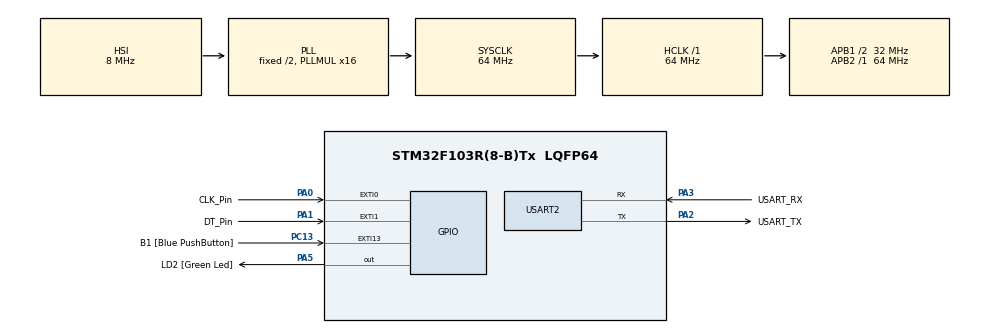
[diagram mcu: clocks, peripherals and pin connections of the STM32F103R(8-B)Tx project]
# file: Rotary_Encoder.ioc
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Mcu.Family=STM32F1
Mcu.Name=STM32F103R(8-B)Tx
Mcu.Package=LQFP64
NVIC.EXTI0_IRQn=true\:1\:0\:true\:false\:true\:true\:true\:true
NVIC.EXTI15_10_IRQn=true\:2\:0\:true\:false\:true\:true\:true\:true
NVIC.EXTI1_IRQn=true\:1\:0\:true\:false\:true\:true\:true\:true
NVIC.PriorityGroup=NVIC_PRIORITYGROUP_4
PA0-WKUP.GPIO_Label=CLK_Pin
PA0-WKUP.GPIO_ModeDefaultEXTI=GPIO_MODE_IT_RISING_FALLING
PA0-WKUP.GPIO_PuPd=GPIO_PULLUP
PA0-WKUP.Signal=GPXTI0
PA1.GPIO_Label=DT_Pin
PA1.GPIO_ModeDefaultEXTI=GPIO_MODE_IT_RISING_FALLING
PA1.GPIO_PuPd=GPIO_PULLUP
PA1.Signal=GPXTI1
PA13.GPIO_Label=TMS
PA13.Mode=Serial_Wire
PA13.Signal=SYS_JTMS-SWDIO
PA14.GPIO_Label=TCK
PA14.Mode=Serial_Wire
PA14.Signal=SYS_JTCK-SWCLK
PA2.GPIO_Label=USART_TX
PA2.GPIO_Mode=GPIO_MODE_AF_PP
PA2.GPIO_PuPd=GPIO_NOPULL
PA2.GPIO_Speed=GPIO_SPEED_FREQ_LOW
PA2.Mode=Asynchronous
PA2.Signal=USART2_TX
PA3.GPIO_Label=USART_RX
PA3.GPIO_Mode=GPIO_MODE_AF_PP
PA3.GPIO_PuPd=GPIO_NOPULL
PA3.GPIO_Speed=GPIO_SPEED_FREQ_LOW
PA3.Mode=Asynchronous
PA3.Signal=USART2_RX
PA5.GPIO_Label=LD2 [Green Led]
PA5.GPIO_ModeDefaultOutputPP=GPIO_MODE_OUTPUT_PP
PA5.GPIO_PuPd=GPIO_NOPULL
PA5.GPIO_Speed=GPIO_SPEED_FREQ_LOW
PA5.Signal=GPIO_Output
PB3.GPIO_Label=SWO
PB3.Signal=SYS_JTDO-TRACESWO
PC13-TAMPER-RTC.GPIO_Label=B1 [Blue PushButton]
PC13-TAMPER-RTC.GPIO_PuPd=GPIO_NOPULL
PC13-TAMPER-RTC.Signal=GPXTI13
PC14-OSC32_IN.Signal=RCC_OSC32_IN
PC15-OSC32_OUT.Signal=RCC_OSC32_OUT
PD0-OSC_IN.Mode=HSE-External-Clock-Source
PD0-OSC_IN.Signal=RCC_OSC_IN
PD1-OSC_OUT.Mode=HSE-External-Clock-Source
PD1-OSC_OUT.Signal=RCC_OSC_OUT
ProjectManager.HeapSize=0x200
ProjectManager.StackSize=0x400
ProjectManager.TargetToolchain=STM32CubeIDE
RCC.AHBFreq_Value=64000000
RCC.APB1CLKDivider=RCC_HCLK_DIV2
RCC.APB1Freq_Value=32000000
RCC.APB1TimFreq_Value=64000000
RCC.APB2Freq_Value=64000000
RCC.APB2TimFreq_Value=64000000
RCC.HCLKFreq_Value=64000000
RCC.PLLMUL=RCC_PLL_MUL16
RCC.RTCClockSelection=RCC_RTCCLKSOURCE_LSE
RCC.SYSCLKFreq_VALUE=64000000
RCC.SYSCLKSource=RCC_SYSCLKSOURCE_PLLCLK
RCC.USBFreq_Value=64000000
TIM2.Period=1000-1
TIM2.Prescaler=64000-1
USART2.VirtualMode=VM_ASYNC
VP_TIM2_VS_ClockSourceINT.Mode=Internal
board=NUCLEO-F103RB

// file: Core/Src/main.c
/* USER CODE BEGIN Header */
/**
 ******************************************************************************
 * @file           : main.c
 * @brief          : Main program body
 ******************************************************************************
 * @attention
 *
 * Copyright (c) 2025 STMicroelectronics.
 * All rights reserved.
 *
 * This software is licensed under terms that can be found in the LICENSE file
 * in the root directory of this software component.
 * If no LICENSE file comes with this software, it is provided AS-IS.
 *
 ******************************************************************************
 */
/* USER CODE END Header */
#include "main.h"

/* USER CODE BEGIN Includes */
#include <stdio.h>
/* USER CODE END Includes */

TIM_HandleTypeDef htim2;

UART_HandleTypeDef huart2;

/* USER CODE BEGIN PV */
// 인코더 관련 변수 (그레이 코드 방식)
volatile int32_t encoder_count = 0;
volatile uint8_t encoder_last_encoded = 0;

// 디바운스를 위한 변수
volatile uint32_t last_interrupt_time = 0;
#define DEBOUNCE_DELAY 5  // ms 단위
/* USER CODE END PV */

void SystemClock_Config(void);
static void MX_GPIO_Init(void);
static void MX_USART2_UART_Init(void);
static void MX_TIM2_Init(void);
/* USER CODE BEGIN PFP */
void Encoder_Init(void);
void HAL_GPIO_EXTI_Callback(uint16_t GPIO_Pin);
/* USER CODE END PFP */

/* USER CODE BEGIN 0 */

/**
 * @brief printf 함수를 UART로 리다이렉트
 */
#ifdef __GNUC__
/* With GCC, small printf (option LD Linker->Libraries->Small printf
 set to 'Yes') calls __io_putchar() */
#define PUTCHAR_PROTOTYPE int __io_putchar(int ch)
#else
#define PUTCHAR_PROTOTYPE int fputc(int ch, FILE *f)
#endif /* __GNUC__ */

/**
 * @brief Retargets the C library printf function to the USART.
 * @param None
 * @retval None
 */
PUTCHAR_PROTOTYPE {
	/* Place your implementation of fputc here */
	/* e.g. write a character to the USART1 and Loop until the end of transmission */
	if (ch == '\n')
		HAL_UART_Transmit(&huart2, (uint8_t*) "\r", 1, 0xFFFF);
	HAL_UART_Transmit(&huart2, (uint8_t*) &ch, 1, 0xFFFF);

	return ch;
}

/**
 * @brief 로터리 인코더 초기화 (그레이 코드 방식)
 */
void Encoder_Init(void) {
	// 초기 상태 읽기
	uint8_t clk = HAL_GPIO_ReadPin(GPIOA, GPIO_PIN_0);
	uint8_t dt = HAL_GPIO_ReadPin(GPIOA, GPIO_PIN_1);
	encoder_last_encoded = (clk << 1) | dt;
	encoder_count = 0;
}

/**
 * @brief GPIO 외부 인터럽트 콜백 함수 (그레이 코드 방식)
 * 안정적인 로터리 인코더 감지
 */
void HAL_GPIO_EXTI_Callback(uint16_t GPIO_Pin) {
	uint32_t current_time = HAL_GetTick();

	// 디바운스 처리
	if (current_time - last_interrupt_time < DEBOUNCE_DELAY) {
		return;
	}
	last_interrupt_time = current_time;

	// 인코더 핀들 처리 (PA0, PA1)
	if (GPIO_Pin == GPIO_PIN_0 || GPIO_Pin == GPIO_PIN_1) {
		// 현재 상태 읽기
		uint8_t clk = HAL_GPIO_ReadPin(GPIOA, GPIO_PIN_0);
		uint8_t dt = HAL_GPIO_ReadPin(GPIOA, GPIO_PIN_1);
		uint8_t encoded = (clk << 1) | dt;  // 2비트 상태 생성

		uint8_t sum = (encoder_last_encoded << 2) | encoded;  // 이전 상태와 현재 상태 결합

		// 회전 방향 결정 (그레이 코드 기반)
		if (sum == 0b1101 || sum == 0b0100 || sum == 0b0010 || sum == 0b1011) {
			encoder_count++;  // 시계방향
		}
		if (sum == 0b1110 || sum == 0b0111 || sum == 0b0001 || sum == 0b1000) {
			encoder_count--;  // 반시계방향
		}

		encoder_last_encoded = encoded;
	}
}

/* USER CODE END 0 */

int main(void) {

	/* USER CODE BEGIN 1 */
	int32_t last_encoder_count = 0;
	/* USER CODE END 1 */

	/* MCU Configuration--------------------------------------------------------*/

	/* Reset of all peripherals, Initializes the Flash interface and the Systick. */
	HAL_Init();

	/* Configure the system clock */
	SystemClock_Config();

	/* Initialize all configured peripherals */
	MX_GPIO_Init();
	MX_USART2_UART_Init();
	MX_TIM2_Init();
	/* USER CODE BEGIN 2 */
	// 로터리 인코더 초기화
	Encoder_Init();

	// 타이머 시작 (시간 측정용)
	HAL_TIM_Base_Start(&htim2);

	printf("=============================\r\n");
	printf("STM32F103 로터리 인코더 테스트 시작\r\n");
	printf("시스템 클록: %lu Hz\r\n", SystemCoreClock);
	printf("그레이 코드 기반 안정적 감지 방식 적용\r\n");
	printf("인코더 카운트 변화를 모니터링합니다...\r\n");
	printf("=============================\r\n");

	/* USER CODE END 2 */

	/* Infinite loop */
	/* USER CODE BEGIN WHILE */
	while (1) {
		// 인코더 값 변화 감지 및 출력
		if (encoder_count != last_encoder_count) {
			printf("인코더 카운트: %ld", encoder_count);

			if (encoder_count > last_encoder_count) {
				printf(" (시계방향)\r\n");
			} else {
				printf(" (반시계방향)\r\n");
			}

			last_encoder_count = encoder_count;
		}

		HAL_Delay(1);  // CPU 부하 감소
		/* USER CODE END WHILE */

	}
}

void SystemClock_Config(void) {
	RCC_OscInitTypeDef RCC_OscInitStruct = { 0 };
	RCC_ClkInitTypeDef RCC_ClkInitStruct = { 0 };

	/** Initializes the RCC Oscillators according to the specified parameters
	 * in the RCC_OscInitTypeDef structure.
	 */
	RCC_OscInitStruct.OscillatorType = RCC_OSCILLATORTYPE_HSI;
	RCC_OscInitStruct.HSIState = RCC_HSI_ON;
	RCC_OscInitStruct.HSICalibrationValue = RCC_HSICALIBRATION_DEFAULT;
	RCC_OscInitStruct.PLL.PLLState = RCC_PLL_ON;
	RCC_OscInitStruct.PLL.PLLSource = RCC_PLLSOURCE_HSI_DIV2;
	RCC_OscInitStruct.PLL.PLLMUL = RCC_PLL_MUL16;
	if (HAL_RCC_OscConfig(&RCC_OscInitStruct) != HAL_OK) {
		Error_Handler();
	}

	/** Initializes the CPU, AHB and APB buses clocks
	 */
	RCC_ClkInitStruct.ClockType = RCC_CLOCKTYPE_HCLK | RCC_CLOCKTYPE_SYSCLK
			| RCC_CLOCKTYPE_PCLK1 | RCC_CLOCKTYPE_PCLK2;
	RCC_ClkInitStruct.SYSCLKSource = RCC_SYSCLKSOURCE_PLLCLK;
	RCC_ClkInitStruct.AHBCLKDivider = RCC_SYSCLK_DIV1;
	RCC_ClkInitStruct.APB1CLKDivider = RCC_HCLK_DIV2;
	RCC_ClkInitStruct.APB2CLKDivider = RCC_HCLK_DIV1;

	if (HAL_RCC_ClockConfig(&RCC_ClkInitStruct, FLASH_LATENCY_2) != HAL_OK) {
		Error_Handler();
	}
}

static void MX_TIM2_Init(void) {

	TIM_ClockConfigTypeDef sClockSourceConfig = { 0 };
	TIM_MasterConfigTypeDef sMasterConfig = { 0 };

	htim2.Instance = TIM2;
	htim2.Init.Prescaler = 64000 - 1;
	htim2.Init.CounterMode = TIM_COUNTERMODE_UP;
	htim2.Init.Period = 1000 - 1;
	htim2.Init.ClockDivision = TIM_CLOCKDIVISION_DIV1;
	htim2.Init.AutoReloadPreload = TIM_AUTORELOAD_PRELOAD_DISABLE;
	if (HAL_TIM_Base_Init(&htim2) != HAL_OK) {
		Error_Handler();
	}
	sClockSourceConfig.ClockSource = TIM_CLOCKSOURCE_INTERNAL;
	if (HAL_TIM_ConfigClockSource(&htim2, &sClockSourceConfig) != HAL_OK) {
		Error_Handler();
	}
	sMasterConfig.MasterOutputTrigger = TIM_TRGO_RESET;
	sMasterConfig.MasterSlaveMode = TIM_MASTERSLAVEMODE_DISABLE;
	if (HAL_TIMEx_MasterConfigSynchronization(&htim2, &sMasterConfig)
			!= HAL_OK) {
		Error_Handler();
	}

}

static void MX_USART2_UART_Init(void) {

	huart2.Instance = USART2;
	huart2.Init.BaudRate = 115200;
	huart2.Init.WordLength = UART_WORDLENGTH_8B;
	huart2.Init.StopBits = UART_STOPBITS_1;
	huart2.Init.Parity = UART_PARITY_NONE;
	huart2.Init.Mode = UART_MODE_TX_RX;
	huart2.Init.HwFlowCtl = UART_HWCONTROL_NONE;
	huart2.Init.OverSampling = UART_OVERSAMPLING_16;
	if (HAL_UART_Init(&huart2) != HAL_OK) {
		Error_Handler();
	}

}

static void MX_GPIO_Init(void) {
	GPIO_InitTypeDef GPIO_InitStruct = { 0 };

	/* GPIO Ports Clock Enable */
	__HAL_RCC_GPIOC_CLK_ENABLE();
	__HAL_RCC_GPIOD_CLK_ENABLE();
	__HAL_RCC_GPIOA_CLK_ENABLE();
	__HAL_RCC_GPIOB_CLK_ENABLE();

	/*Configure GPIO pin Output Level */
	HAL_GPIO_WritePin(LD2_GPIO_Port, LD2_Pin, GPIO_PIN_RESET);

	/*Configure GPIO pin : B1_Pin */
	GPIO_InitStruct.Pin = B1_Pin;
	GPIO_InitStruct.Mode = GPIO_MODE_IT_RISING;
	GPIO_InitStruct.Pull = GPIO_NOPULL;
	HAL_GPIO_Init(B1_GPIO_Port, &GPIO_InitStruct);

	/*Configure GPIO pins : CLK_Pin_Pin DT_Pin_Pin */
	GPIO_InitStruct.Pin = CLK_Pin_Pin | DT_Pin_Pin;
	GPIO_InitStruct.Mode = GPIO_MODE_IT_RISING_FALLING;
	GPIO_InitStruct.Pull = GPIO_PULLUP;
	HAL_GPIO_Init(GPIOA, &GPIO_InitStruct);

	/*Configure GPIO pin : LD2_Pin */
	GPIO_InitStruct.Pin = LD2_Pin;
	GPIO_InitStruct.Mode = GPIO_MODE_OUTPUT_PP;
	GPIO_InitStruct.Pull = GPIO_NOPULL;
	GPIO_InitStruct.Speed = GPIO_SPEED_FREQ_LOW;
	HAL_GPIO_Init(LD2_GPIO_Port, &GPIO_InitStruct);

	/* EXTI interrupt init*/
	HAL_NVIC_SetPriority(EXTI0_IRQn, 1, 0);
	HAL_NVIC_EnableIRQ(EXTI0_IRQn);

	HAL_NVIC_SetPriority(EXTI1_IRQn, 1, 0);
	HAL_NVIC_EnableIRQ(EXTI1_IRQn);

	HAL_NVIC_SetPriority(EXTI15_10_IRQn, 2, 0);
	HAL_NVIC_EnableIRQ(EXTI15_10_IRQn);

}

void Error_Handler(void) {
	__disable_irq();
	while (1) {
	}
}
